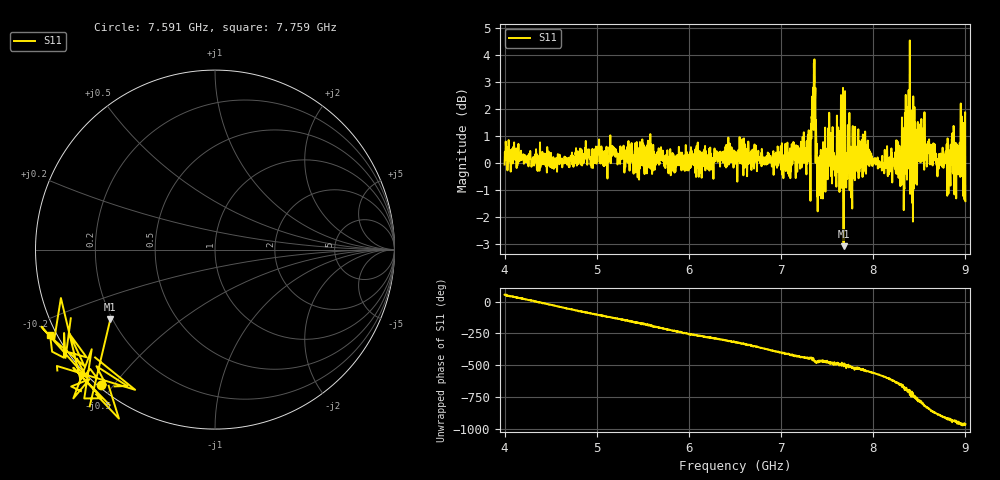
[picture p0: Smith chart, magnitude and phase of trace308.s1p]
! Created with skrf 1.8.0 (http://scikit-rf.org).
# Hz S RI R 50.0
!freq ReS11 ImS11
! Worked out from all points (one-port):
!   1601 points, 4 GHz to 9 GHz, reference 50 ohm
!   lowest |S11| = -3.1 dB at 7.678 GHz (marker M1), VSWR 5.69, Z = 9.56 - j14.6 ohm
!   |S11| at or under -10 dB: nowhere
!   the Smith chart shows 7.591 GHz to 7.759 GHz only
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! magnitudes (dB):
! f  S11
! 4 GHz  -0.1
! 4.625 GHz  -0.2
! 5.25 GHz  0.2
! 5.875 GHz  0.1
! 6.5 GHz  0.1
! 7.125 GHz  0.1
! 7.297 GHz  0.9
! 7.347 GHz  2.8
! 7.362 GHz  3.8
! 7.4 GHz  -0.4
! 7.416 GHz  -1.2
! 7.472 GHz  -0.8
! 7.512 GHz  1.3
! 7.578 GHz  0.0
! 7.631 GHz  0.9
! 7.678 GHz  -3.1
! 7.703 GHz  0.4
! 7.75 GHz  -0.3
! 7.891 GHz  0.4
! 8.316 GHz  0.3
! 8.375 GHz  1.1
! 8.425 GHz  0.6
! 8.519 GHz  1.1
! 8.697 GHz  -0.5
! 8.903 GHz  0.4
! 8.956 GHz  -0.3
! 8.972 GHz  0.9
! 9 GHz  -1.4
